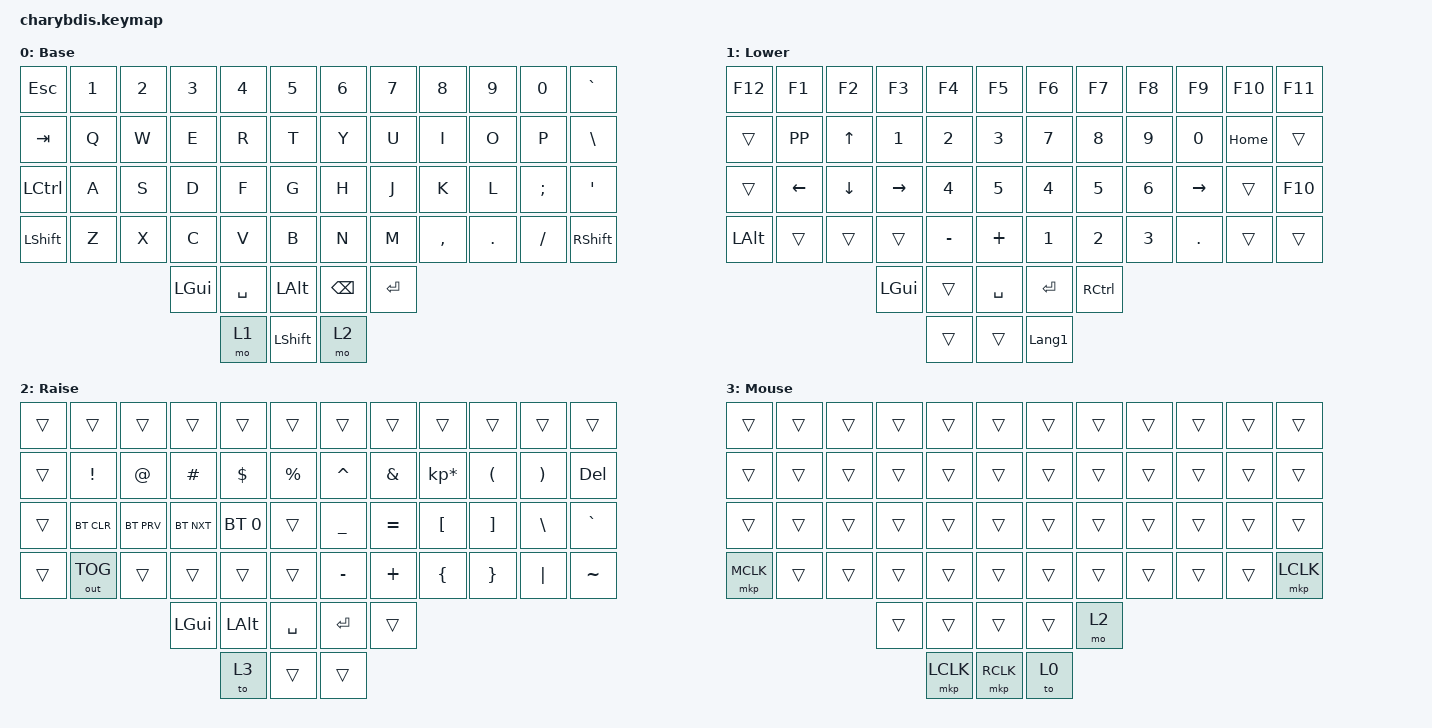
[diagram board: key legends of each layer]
#include <behaviors.dtsi>
#include <dt-bindings/zmk/mouse.h>
#include <dt-bindings/zmk/bt.h>
#include <dt-bindings/zmk/keys.h>
#include <dt-bindings/zmk/outputs.h>

&lt {
    tapping-term-ms = <240>;
    flavor = "balanced";
    quick-tap-ms = <150>;
};

/ {
     combos {
        compatible = "zmk,combos";
        combo_lclk {
            timeout-ms = <50>;
            key-positions = <27 28>;
            bindings = <&mkp LCLK>;
        };
    };
    
    keymap {
        compatible = "zmk,keymap";

        Base {
            label = "Base";
            bindings = <
&kp ESC    &kp N1  &kp N2  &kp N3    &kp N4     &kp N5          &kp N6    &kp N7   &kp N8     &kp N9   &kp N0    &kp GRAVE
&kp TAB    &kp Q   &kp W   &kp E     &kp R      &kp T           &kp Y     &kp U    &kp I      &kp O    &kp P     &kp BSLH
&kp LCTRL  &kp A   &kp S   &kp D     &kp F      &kp G           &kp H     &kp J    &kp K      &kp L    &kp SEMI  &kp APOS
&kp LSHFT  &kp Z   &kp X   &kp C     &kp V      &kp B           &kp N     &kp M    &kp COMMA  &kp DOT  &kp FSLH  &kp RSHFT
                           &kp LGUI  &kp SPACE  &kp LEFT_ALT    &kp BSPC  &kp RET
                                     &mo 1      &kp LSHFT       &mo 2
            >;
        };

        Lower {
            label = "Lower";
            bindings = <
&kp F12       &kp F1    &kp F2    &kp F3     &kp F4     &kp F5       &kp F6          &kp F7     &kp F8  &kp F9     &kp F10   &kp F11
&trans        &kp K_PP  &kp UP    &kp N1     &kp N2     &kp N3       &kp N7          &kp N8     &kp N9  &kp N0     &kp HOME  &trans
&trans        &kp LEFT  &kp DOWN  &kp RIGHT  &kp N4     &kp N5       &kp N4          &kp N5     &kp N6  &kp RIGHT  &trans    &kp F10
&kp LEFT_ALT  &trans    &trans    &trans     &kp MINUS  &kp PLUS     &kp N1          &kp N2     &kp N3  &kp DOT    &trans    &trans
                                  &kp LGUI   &trans     &kp SPACE    &kp RET         &kp RCTRL
                                             &trans     &trans       &kp LANGUAGE_1
            >;
        };

        Raise {
            label = "Raise";
            bindings = <
&trans  &trans        &trans      &trans      &trans        &trans       &trans     &trans     &trans           &trans    &trans    &trans
&trans  &kp EXCL      &kp AT      &kp HASH    &kp DLLR      &kp PRCNT    &kp CARET  &kp AMPS   &kp KP_MULTIPLY  &kp LPAR  &kp RPAR  &kp DEL
&trans  &bt BT_CLR    &bt BT_PRV  &bt BT_NXT  &bt BT_SEL 0  &trans       &kp UNDER  &kp EQUAL  &kp LBKT         &kp RBKT  &kp BSLH  &kp GRAVE
&trans  &out OUT_TOG  &trans      &trans      &trans        &trans       &kp MINUS  &kp PLUS   &kp LBRC         &kp RBRC  &kp PIPE  &kp TILDE
                                  &kp LGUI    &kp LEFT_ALT  &kp SPACE    &kp RET    &trans
                                              &to 3         &trans       &trans
            >;
        };

        Mouse {
            bindings = <
&trans     &trans  &trans  &trans     &trans  &trans       &trans  &trans  &trans  &trans  &trans  &trans
&trans     &trans  &trans  &trans     &trans  &trans       &trans  &trans  &trans  &trans  &trans  &trans
&trans     &trans  &trans  &trans     &trans  &trans       &trans  &trans  &trans  &trans  &trans  &trans
&mkp MCLK  &trans  &trans  &trans     &trans  &trans       &trans  &trans  &trans  &trans  &trans  &mkp LCLK
                           &trans     &trans  &trans       &trans  &mo 2
                                      &mkp LCLK &mkp RCLK  &to 0 
            >;
        };
    };
};
